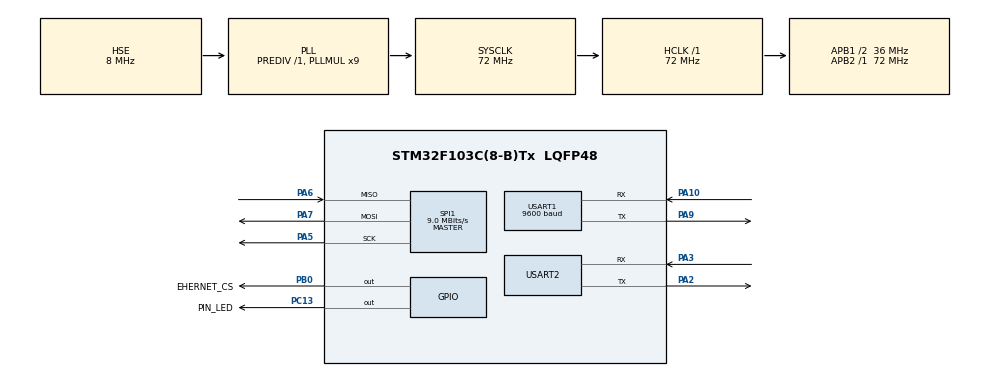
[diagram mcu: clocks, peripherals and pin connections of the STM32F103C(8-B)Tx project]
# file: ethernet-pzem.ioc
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Mcu.Family=STM32F1
Mcu.Name=STM32F103C(8-B)Tx
Mcu.Package=LQFP48
NVIC.PriorityGroup=NVIC_PRIORITYGROUP_4
NVIC.USART1_IRQn=true\:0\:0\:false\:false\:true\:true\:true
PA10.Mode=Asynchronous
PA10.Signal=USART1_RX
PA13.Mode=Serial_Wire
PA13.Signal=SYS_JTMS-SWDIO
PA14.Mode=Serial_Wire
PA14.Signal=SYS_JTCK-SWCLK
PA2.Mode=Asynchronous
PA2.Signal=USART2_TX
PA3.Mode=Asynchronous
PA3.Signal=USART2_RX
PA5.Mode=Full_Duplex_Master
PA5.Signal=SPI1_SCK
PA6.Mode=Full_Duplex_Master
PA6.Signal=SPI1_MISO
PA7.Mode=Full_Duplex_Master
PA7.Signal=SPI1_MOSI
PA9.Mode=Asynchronous
PA9.Signal=USART1_TX
PB0.GPIO_Label=EHERNET_CS
PB0.Signal=GPIO_Output
PC13-TAMPER-RTC.GPIO_Label=PIN_LED
PC13-TAMPER-RTC.Signal=GPIO_Output
PD0-OSC_IN.Mode=HSE-External-Oscillator
PD0-OSC_IN.Signal=RCC_OSC_IN
PD1-OSC_OUT.Mode=HSE-External-Oscillator
PD1-OSC_OUT.Signal=RCC_OSC_OUT
ProjectManager.HeapSize=0x200
ProjectManager.StackSize=0x400
ProjectManager.TargetToolchain=TrueSTUDIO
RCC.AHBFreq_Value=72000000
RCC.APB1CLKDivider=RCC_HCLK_DIV2
RCC.APB1Freq_Value=36000000
RCC.APB1TimFreq_Value=72000000
RCC.APB2Freq_Value=72000000
RCC.APB2TimFreq_Value=72000000
RCC.HCLKFreq_Value=72000000
RCC.PLLMUL=RCC_PLL_MUL9
RCC.PLLSourceVirtual=RCC_PLLSOURCE_HSE
RCC.SYSCLKFreq_VALUE=72000000
RCC.SYSCLKSource=RCC_SYSCLKSOURCE_PLLCLK
RCC.USBFreq_Value=72000000
SPI1.BaudRatePrescaler=SPI_BAUDRATEPRESCALER_8
SPI1.CalculateBaudRate=9.0 MBits/s
SPI1.Direction=SPI_DIRECTION_2LINES
SPI1.Mode=SPI_MODE_MASTER
SPI1.VirtualType=VM_MASTER
USART1.BaudRate=9600
USART1.VirtualMode=VM_ASYNC
USART2.VirtualMode=VM_ASYNC
board=custom

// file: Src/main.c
/* USER CODE BEGIN Header */
/**
  ******************************************************************************
  * @file           : main.c
  * @brief          : Main program body
  ******************************************************************************
  * @attention
  *
  * <h2><center>&copy; Copyright (c) 2020 STMicroelectronics.
  * All rights reserved.</center></h2>
  *
  * This software component is licensed by ST under BSD 3-Clause license,
  * the "License"; You may not use this file except in compliance with the
  * License. You may obtain a copy of the License at:
  *                        opensource.org/licenses/BSD-3-Clause
  *
  ******************************************************************************
  */
/* USER CODE END Header */

#include "main.h"

/* USER CODE BEGIN Includes */
#include <ctype.h>
#include <stdbool.h>

#include "socket.h"
#include "dhcp.h"
#include "wizchip_conf.h"
/* USER CODE END Includes */

/* USER CODE BEGIN PTD */
static const uint16_t crcTable[] = {
    0X0000, 0XC0C1, 0XC181, 0X0140, 0XC301, 0X03C0, 0X0280, 0XC241,
    0XC601, 0X06C0, 0X0780, 0XC741, 0X0500, 0XC5C1, 0XC481, 0X0440,
    0XCC01, 0X0CC0, 0X0D80, 0XCD41, 0X0F00, 0XCFC1, 0XCE81, 0X0E40,
    0X0A00, 0XCAC1, 0XCB81, 0X0B40, 0XC901, 0X09C0, 0X0880, 0XC841,
    0XD801, 0X18C0, 0X1980, 0XD941, 0X1B00, 0XDBC1, 0XDA81, 0X1A40,
    0X1E00, 0XDEC1, 0XDF81, 0X1F40, 0XDD01, 0X1DC0, 0X1C80, 0XDC41,
    0X1400, 0XD4C1, 0XD581, 0X1540, 0XD701, 0X17C0, 0X1680, 0XD641,
    0XD201, 0X12C0, 0X1380, 0XD341, 0X1100, 0XD1C1, 0XD081, 0X1040,
    0XF001, 0X30C0, 0X3180, 0XF141, 0X3300, 0XF3C1, 0XF281, 0X3240,
    0X3600, 0XF6C1, 0XF781, 0X3740, 0XF501, 0X35C0, 0X3480, 0XF441,
    0X3C00, 0XFCC1, 0XFD81, 0X3D40, 0XFF01, 0X3FC0, 0X3E80, 0XFE41,
    0XFA01, 0X3AC0, 0X3B80, 0XFB41, 0X3900, 0XF9C1, 0XF881, 0X3840,
    0X2800, 0XE8C1, 0XE981, 0X2940, 0XEB01, 0X2BC0, 0X2A80, 0XEA41,
    0XEE01, 0X2EC0, 0X2F80, 0XEF41, 0X2D00, 0XEDC1, 0XEC81, 0X2C40,
    0XE401, 0X24C0, 0X2580, 0XE541, 0X2700, 0XE7C1, 0XE681, 0X2640,
    0X2200, 0XE2C1, 0XE381, 0X2340, 0XE101, 0X21C0, 0X2080, 0XE041,
    0XA001, 0X60C0, 0X6180, 0XA141, 0X6300, 0XA3C1, 0XA281, 0X6240,
    0X6600, 0XA6C1, 0XA781, 0X6740, 0XA501, 0X65C0, 0X6480, 0XA441,
    0X6C00, 0XACC1, 0XAD81, 0X6D40, 0XAF01, 0X6FC0, 0X6E80, 0XAE41,
    0XAA01, 0X6AC0, 0X6B80, 0XAB41, 0X6900, 0XA9C1, 0XA881, 0X6840,
    0X7800, 0XB8C1, 0XB981, 0X7940, 0XBB01, 0X7BC0, 0X7A80, 0XBA41,
    0XBE01, 0X7EC0, 0X7F80, 0XBF41, 0X7D00, 0XBDC1, 0XBC81, 0X7C40,
    0XB401, 0X74C0, 0X7580, 0XB541, 0X7700, 0XB7C1, 0XB681, 0X7640,
    0X7200, 0XB2C1, 0XB381, 0X7340, 0XB101, 0X71C0, 0X7080, 0XB041,
    0X5000, 0X90C1, 0X9181, 0X5140, 0X9301, 0X53C0, 0X5280, 0X9241,
    0X9601, 0X56C0, 0X5780, 0X9741, 0X5500, 0X95C1, 0X9481, 0X5440,
    0X9C01, 0X5CC0, 0X5D80, 0X9D41, 0X5F00, 0X9FC1, 0X9E81, 0X5E40,
    0X5A00, 0X9AC1, 0X9B81, 0X5B40, 0X9901, 0X59C0, 0X5880, 0X9841,
    0X8801, 0X48C0, 0X4980, 0X8941, 0X4B00, 0X8BC1, 0X8A81, 0X4A40,
    0X4E00, 0X8EC1, 0X8F81, 0X4F40, 0X8D01, 0X4DC0, 0X4C80, 0X8C41,
    0X4400, 0X84C1, 0X8581, 0X4540, 0X8701, 0X47C0, 0X4680, 0X8641,
    0X8201, 0X42C0, 0X4380, 0X8341, 0X4100, 0X81C1, 0X8081, 0X4040
};
/* USER CODE END PTD */

/* USER CODE BEGIN PD */
#define REG_VOLTAGE     0x0000
#define REG_CURRENT_L   0x0001
#define REG_CURRENT_H   0X0002
#define REG_POWER_L     0x0003
#define REG_POWER_H     0x0004
#define REG_ENERGY_L    0x0005
#define REG_ENERGY_H    0x0006
#define REG_FREQUENCY   0x0007
#define REG_PF          0x0008
#define REG_ALARM       0x0009

#define CMD_RHR         0x03
#define CMD_RIR         0X04
#define CMD_WSR         0x06
#define CMD_CAL         0x41
#define CMD_REST        0x42

#define WREG_ALARM_THR   0x0001
#define WREG_ADDR        0x0002

#define UPDATE_TIME     200

#define RESPONSE_SIZE 32
#define READ_TIMEOUT 100

#define PZEM_BAUD_RATE 9600
uint8_t _addr = 0x42;

#define DATA_BUF_SIZE   500

#define DHCP_SOCKET     0
#define HTTP_SOCKET     2
uint8_t gDATABUF[DATA_BUF_SIZE];
uint8_t dhcp_buffer[1024];
uint8_t gateWay[4] = {192, 168, 1, 1};

#define json_answer	"HTTP/1.0 200 OK\r\n"\
		"Content-Type: application/json\r\n"\
		"Access-Control-Allow-Origin: *\r\n"\
		"\r\n"\
		"{\"voltage\": %.2f, \"current\": %.6f, \"power\": %.2f, \"energy\": %.2f, \"frequency\": %.2f, \"udid\":\"%s\"}"\

#define html_answer	"HTTP/1.0 200 OK\r\n"\
		"Content-Type: text/html\r\n"\
		"\r\n"\
		"voltage: %.2f <br> current: %.6f <br> power: %.2f <br>energy: %.2f<br> frequency: %.2f <br> udid: %s"\

uint8_t udids[27];
volatile uint32_t udid[3];

/* USER CODE END PD */

/* USER CODE BEGIN PM */
#define pgm_read_word(addr) (*(const unsigned short *)(addr))

/* USER CODE END PM */

SPI_HandleTypeDef hspi1;

UART_HandleTypeDef huart1;
UART_HandleTypeDef huart2;

/* USER CODE BEGIN PV */
struct {
       float voltage;
       float current;
       float power;
       float energy;
       float frequeny;
       float pf;
       uint16_t alarms;
   }  _currentValues; // Measured values

   uint64_t _lastRead;
/* USER CODE END PV */

void SystemClock_Config(void);
static void MX_GPIO_Init(void);
static void MX_SPI1_Init(void);
static void MX_USART1_UART_Init(void);
static void MX_USART2_UART_Init(void);

/* USER CODE BEGIN 0 */
uint16_t CRC16(const uint8_t *data, uint16_t len)
{
    uint8_t nTemp; // CRC table index
    uint16_t crc = 0xFFFF; // Default value

    while (len--)
    {
        nTemp = *data++ ^ crc;
        crc >>= 8;
        crc ^= (uint16_t)pgm_read_word(&crcTable[nTemp]);
    }
    return crc;
}

uint8_t setCRC(uint8_t *buf, uint16_t len){
    if(len <= 2) // Sanity check
        return 1;

    uint16_t crc = CRC16(buf, len - 2); // CRC of data

    // Write high and low byte to last two positions
    buf[len - 2] = crc & 0xFF; // Low byte first
    buf[len - 1] = (crc >> 8) & 0xFF; // High byte second
    return 0;
}

uint8_t sendCmd8(uint8_t cmd, uint16_t rAddr, uint16_t val){
    uint8_t sendBuffer[8]; // Send buffer

    sendBuffer[0] = 0xf8;                   // Set slave address
    sendBuffer[1] = cmd;                     // Set command

    sendBuffer[2] = (rAddr >> 8) & 0xFF;     // Set high byte of register address
    sendBuffer[3] = (rAddr) & 0xFF;          // Set low byte =//=

    sendBuffer[4] = (val >> 8) & 0xFF;       // Set high byte of register value
    sendBuffer[5] = (val) & 0xFF;            // Set low byte =//=

    setCRC(sendBuffer, 8);                   // Set CRC of frame
    HAL_UART_Transmit(&huart1, sendBuffer, sizeof(sendBuffer), HAL_MAX_DELAY);
    return 0;
}

uint8_t sendCmd4(uint8_t cmd){
    uint8_t sendBuffer[4]; // Send buffer
    sendBuffer[0] = 0xf8;                   // Set slave address
    sendBuffer[1] = cmd;                     // Set command
    setCRC(sendBuffer, 4);                   // Set CRC of frame
    HAL_UART_Transmit(&huart1, sendBuffer, sizeof(sendBuffer), HAL_MAX_DELAY);
    return 0;
}

void updateValues()
{
    sendCmd8(CMD_RIR, 0x00, 0x0A);
}

void resetEnergy()
{
	sendCmd4(CMD_REST);
}

uint8_t byte;
int rx_bytes = 0;
uint8_t response[26];
uint8_t response[26];

void HAL_UART_RxCpltCallback(UART_HandleTypeDef *huart){
	rx_bytes++;
    // Update the current values

		HAL_GPIO_TogglePin(PIN_LED_GPIO_Port, PIN_LED_Pin);
		_currentValues.voltage = ((uint32_t)response[3] << 8 | // Raw voltage in 0.1V
								  (uint32_t)response[4])/10.0;

		_currentValues.current = ((uint32_t)response[5] << 8 | // Raw current in 0.001A
								  (uint32_t)response[6] |
								  (uint32_t)response[7] << 24 |
								  (uint32_t)response[8] << 16) / 1000.0;

		_currentValues.power =   ((uint32_t)response[9] << 8 | // Raw power in 0.1W
								  (uint32_t)response[10] |
								  (uint32_t)response[11] << 24 |
								  (uint32_t)response[12] << 16) / 10.0;

		_currentValues.energy =  ((uint32_t)response[13] << 8 | // Raw Energy in 1Wh
								  (uint32_t)response[14] |
								  (uint32_t)response[15] << 24 |
								  (uint32_t)response[16] << 16) / 1000.0;

		_currentValues.frequeny =((uint32_t)response[17] << 8 | // Raw Frequency in 0.1Hz
								  (uint32_t)response[18]) / 10.0;

		_currentValues.pf =      ((uint32_t)response[19] << 8 | // Raw pf in 0.01
								  (uint32_t)response[20])/100.0;

		_currentValues.alarms =  ((uint32_t)response[21] << 8 | // Raw alarm value
								  (uint32_t)response[22]);

}

void W5500_Select(void) {
    HAL_GPIO_WritePin(EHERNET_CS_GPIO_Port, EHERNET_CS_Pin, GPIO_PIN_RESET);
}

void W5500_Unselect(void) {
    HAL_GPIO_WritePin(EHERNET_CS_GPIO_Port, EHERNET_CS_Pin, GPIO_PIN_SET);
}

void W5500_ReadBuff(uint8_t* buff, uint16_t len) {
    HAL_SPI_Receive(&hspi1, buff, len, HAL_MAX_DELAY);
}

void W5500_WriteBuff(uint8_t* buff, uint16_t len) {
    HAL_SPI_Transmit(&hspi1, buff, len, HAL_MAX_DELAY);
}

uint8_t W5500_ReadByte(void) {
    uint8_t byte;
    W5500_ReadBuff(&byte, sizeof(byte));
    return byte;
}

void W5500_WriteByte(uint8_t byte) {
    W5500_WriteBuff(&byte, sizeof(byte));
}

volatile bool ip_assigned = false;

void Callback_IPAssigned(void) {

	  HAL_GPIO_WritePin(PIN_LED_GPIO_Port, PIN_LED_Pin, GPIO_PIN_RESET);
	  HAL_Delay(100);
	  HAL_GPIO_WritePin(PIN_LED_GPIO_Port, PIN_LED_Pin, GPIO_PIN_SET);
	  HAL_Delay(200);
	  HAL_GPIO_WritePin(PIN_LED_GPIO_Port, PIN_LED_Pin, GPIO_PIN_RESET);
	  HAL_Delay(200);
	  HAL_GPIO_WritePin(PIN_LED_GPIO_Port, PIN_LED_Pin, GPIO_PIN_SET);
	  HAL_Delay(200);
	  HAL_GPIO_WritePin(PIN_LED_GPIO_Port, PIN_LED_Pin, GPIO_PIN_RESET);
	  HAL_Delay(200);
    ip_assigned = true;
}

void Callback_IPConflict(void) {
	  HAL_GPIO_WritePin(PIN_LED_GPIO_Port, PIN_LED_Pin, GPIO_PIN_RESET);
	  HAL_Delay(100);
	  HAL_GPIO_WritePin(PIN_LED_GPIO_Port, PIN_LED_Pin, GPIO_PIN_SET);
	  HAL_Delay(100);
	  HAL_GPIO_WritePin(PIN_LED_GPIO_Port, PIN_LED_Pin, GPIO_PIN_RESET);
	  HAL_Delay(100);
	  HAL_GPIO_WritePin(PIN_LED_GPIO_Port, PIN_LED_Pin, GPIO_PIN_SET);
while(1){}

}

// 1K should be enough, see https://forum.wiznet.io/t/topic/1612/2
uint8_t dhcp_buffer[1024];
uint32_t dhcp_ctr = 10000;

void w55500init() {
//    UART_Printf("\r\ninit() called!\r\n");
//    UART_Printf("Registering W5500 callbacks...\r\n");

	uint8_t tmp;
    reg_wizchip_cs_cbfunc(W5500_Select, W5500_Unselect);
    reg_wizchip_spi_cbfunc(W5500_ReadByte, W5500_WriteByte);
    reg_wizchip_spiburst_cbfunc(W5500_ReadBuff, W5500_WriteBuff);

//    UART_Printf("Calling wizchip_init()...\r\n");
    uint8_t memsize[2][8] = {{2,2,2,2,2,2,2,2},{2,2,2,2,2,2,2,2}};

	/* WIZCHIP SOCKET Buffer initialize */
	if(ctlwizchip(CW_INIT_WIZCHIP,(void*)memsize) == -1){
		//init fail
		//printf("WIZCHIP Initialized fail.\r\n");
		while(1);
	}
	do{
		if(ctlwizchip(CW_GET_PHYLINK, (void*)&tmp) == -1){};
			//printf("Unknown PHY Link stauts.\r\n");
	}while(tmp == PHY_LINK_OFF);

	wiz_NetInfo net_info = {    .mac = {0x00, 0x08, 0xdc, 0xab, 0xcd, 0xef},
	                            .ip = {172, 168, 1, 154},
	                            .sn = {255, 255, 254, 0},
	                            .gw = {172, 168, 1, 1},
	                            .dns = {0, 0, 0, 0},
	                            .dhcp = NETINFO_DHCP };

	setSHAR(net_info.mac);			//set MAC addr
	setSIPR(net_info.ip);			//set IP addr
	setGAR(net_info.gw);			//set gate way
	setSUBR(net_info.sn);			//set subnet

///////////////////////////////////////////

    DHCP_init(DHCP_SOCKET, dhcp_buffer);
    reg_dhcp_cbfunc(
           Callback_IPAssigned,
           Callback_IPAssigned,
           Callback_IPConflict
       );

	while((!ip_assigned) && (dhcp_ctr > 0)) {
		DHCP_run();
		dhcp_ctr--;
	}
	if(!ip_assigned) {
//		UART_Printf("\r\nIP was not assigned :(\r\n");
		return;
	}

	getIPfromDHCP(net_info.ip);
	getGWfromDHCP(net_info.gw);
	getSNfromDHCP(net_info.sn);

	wizchip_setnetinfo(&net_info);

}

int32_t loopback_tcps(uint8_t sn, uint8_t* buf, uint16_t port){
	int32_t ret;
	uint16_t size = 0, sentsize=0;
	uint8_t *url;

	switch(getSn_SR(sn)){
		case SOCK_ESTABLISHED :
			if(getSn_IR(sn) & Sn_IR_CON){
//				printf("%d:Connected\r\n",sn);
				setSn_IR(sn,Sn_IR_CON);
			}
			if((size = getSn_RX_RSR(sn)) > 0){
				if(size > DATA_BUF_SIZE) size = DATA_BUF_SIZE;
				ret = recv(sn,buf,size);
				if(ret <= 0) return ret;
				sentsize = 0;
				if(memcmp(buf, "GET ", 4)==0){
					// extract URL from request header
					url = buf + 4;
					//http data fill
					if(memcmp(url, "/info", 5)==0){
						sprintf(buf, json_answer,
								 _currentValues.voltage,
							     _currentValues.current,
								 _currentValues.power,
								 _currentValues.energy,
								_currentValues.frequeny,
								udids
								);
					}else if(memcmp(url, "/reset", 6)==0){
					    HAL_Delay(100);
						HAL_UART_Receive_IT(&huart1, response, 4);
						resetEnergy();
					    HAL_Delay(100);
						sprintf(buf, html_answer,
								 _currentValues.voltage,
							     _currentValues.current,
								 _currentValues.power,
								 _currentValues.energy,
								_currentValues.frequeny,
								udids
								);
					}else if(memcmp(url, "/pause", 6)==0){
					    HAL_Delay(1000);
						sprintf(buf, html_answer,
								 _currentValues.voltage,
							     _currentValues.current,
								 _currentValues.power,
								 _currentValues.energy,
								_currentValues.frequeny,
								udids
								);
					}else{
						sprintf(buf, html_answer,
								 _currentValues.voltage,
							     _currentValues.current,
								 _currentValues.power,
								 _currentValues.energy,
								_currentValues.frequeny,
								udids
								);
					}

					size=strlen((const char*)buf);

					//sending answer
					while(size != sentsize){
						ret = send(sn,buf+sentsize,size-sentsize);
						if(ret < 0){
							close(sn);
							return ret;
						}
						sentsize += ret; // Don't care SOCKERR_BUSY, because it is zero.
					}
				}
				//ending
				disconnect(sn);

			}
			break;
		case SOCK_CLOSE_WAIT :
//			printf("%d:CloseWait\r\n",sn);
			if((ret=disconnect(sn)) != SOCK_OK) return ret;
//			printf("%d:Closed\r\n",sn);
			break;
		case SOCK_INIT :
//			printf("%d:Listen, port [%d]\r\n",sn, port);
			if( (ret = listen(sn)) != SOCK_OK) return ret;
			break;
		case SOCK_CLOSED:
//			printf("%d:LBTStart\r\n",sn);
			if((ret=socket(sn,Sn_MR_TCP,port,0x00)) != sn)
			return ret;
	//		printf("%d:Opened\r\n",sn);
			break;
		default:
			break;
	}
	return 1;
}

/* USER CODE END 0 */

int main(void)
{
  /* USER CODE BEGIN 1 */
	udid[0] =  *((unsigned long *)0x1FFFF7F0);
	udid[1] =  *((unsigned long *)0x1FFFF7EC);
	udid[2] =  *((unsigned long *)0x1FFFF7E8);
	sprintf(udids, "%08X-%08X-%08X",udid[0], udid[1],udid[2]);
	uint8_t tmp;

  /* USER CODE END 1 */

  /* MCU Configuration--------------------------------------------------------*/

  /* Reset of all peripherals, Initializes the Flash interface and the Systick. */
  HAL_Init();

  /* Configure the system clock */
  SystemClock_Config();

  /* Initialize all configured peripherals */
  MX_GPIO_Init();
  MX_SPI1_Init();
  MX_USART1_UART_Init();
  MX_USART2_UART_Init();
  /* USER CODE BEGIN 2 */
  w55500init();
  /* USER CODE END 2 */

  /* Infinite loop */
  /* USER CODE BEGIN WHILE */
  uint8_t link = 1;
  uint8_t prev_link = 0;
  while (1)
  {
    /* USER CODE END WHILE */

    /* USER CODE BEGIN 3 */
//	  HAL_Delay(100);
	  if(link == 1){
		  HAL_UART_Receive_IT(&huart1, response, 25);
		  updateValues();
	  }
//	  HAL_GPIO_TogglePin(PIN_LED_GPIO_Port, PIN_LED_Pin);
	  loopback_tcps(HTTP_SOCKET,gDATABUF, 80);
	  HAL_Delay(100);
	  if(ctlwizchip(CW_GET_PHYLINK, (void*)&tmp) == 0){
		  if(tmp == PHY_LINK_OFF){
			  link = 0;
		  }else{
			  link = 1;
		  }
	  }
	  if(prev_link!=link){
		  dhcp_ctr = 10000;
		  ip_assigned = false;
		  while((!ip_assigned) && (dhcp_ctr > 0)) {
		  		DHCP_run();
		  		dhcp_ctr--;
		  	}
	  }
	  prev_link = link;
  }
  /* USER CODE END 3 */
}

void SystemClock_Config(void)
{
  RCC_OscInitTypeDef RCC_OscInitStruct = {0};
  RCC_ClkInitTypeDef RCC_ClkInitStruct = {0};

  /** Initializes the CPU, AHB and APB busses clocks
  */
  RCC_OscInitStruct.OscillatorType = RCC_OSCILLATORTYPE_HSE;
  RCC_OscInitStruct.HSEState = RCC_HSE_ON;
  RCC_OscInitStruct.HSEPredivValue = RCC_HSE_PREDIV_DIV1;
  RCC_OscInitStruct.HSIState = RCC_HSI_ON;
  RCC_OscInitStruct.PLL.PLLState = RCC_PLL_ON;
  RCC_OscInitStruct.PLL.PLLSource = RCC_PLLSOURCE_HSE;
  RCC_OscInitStruct.PLL.PLLMUL = RCC_PLL_MUL9;
  if (HAL_RCC_OscConfig(&RCC_OscInitStruct) != HAL_OK)
  {
    Error_Handler();
  }
  /** Initializes the CPU, AHB and APB busses clocks
  */
  RCC_ClkInitStruct.ClockType = RCC_CLOCKTYPE_HCLK|RCC_CLOCKTYPE_SYSCLK
                              |RCC_CLOCKTYPE_PCLK1|RCC_CLOCKTYPE_PCLK2;
  RCC_ClkInitStruct.SYSCLKSource = RCC_SYSCLKSOURCE_PLLCLK;
  RCC_ClkInitStruct.AHBCLKDivider = RCC_SYSCLK_DIV1;
  RCC_ClkInitStruct.APB1CLKDivider = RCC_HCLK_DIV2;
  RCC_ClkInitStruct.APB2CLKDivider = RCC_HCLK_DIV1;

  if (HAL_RCC_ClockConfig(&RCC_ClkInitStruct, FLASH_LATENCY_2) != HAL_OK)
  {
    Error_Handler();
  }
}

static void MX_SPI1_Init(void)
{

  /* SPI1 parameter configuration*/
  hspi1.Instance = SPI1;
  hspi1.Init.Mode = SPI_MODE_MASTER;
  hspi1.Init.Direction = SPI_DIRECTION_2LINES;
  hspi1.Init.DataSize = SPI_DATASIZE_8BIT;
  hspi1.Init.CLKPolarity = SPI_POLARITY_LOW;
  hspi1.Init.CLKPhase = SPI_PHASE_1EDGE;
  hspi1.Init.NSS = SPI_NSS_SOFT;
  hspi1.Init.BaudRatePrescaler = SPI_BAUDRATEPRESCALER_8;
  hspi1.Init.FirstBit = SPI_FIRSTBIT_MSB;
  hspi1.Init.TIMode = SPI_TIMODE_DISABLE;
  hspi1.Init.CRCCalculation = SPI_CRCCALCULATION_DISABLE;
  hspi1.Init.CRCPolynomial = 10;
  if (HAL_SPI_Init(&hspi1) != HAL_OK)
  {
    Error_Handler();
  }

}

static void MX_USART1_UART_Init(void)
{

  huart1.Instance = USART1;
  huart1.Init.BaudRate = 9600;
  huart1.Init.WordLength = UART_WORDLENGTH_8B;
  huart1.Init.StopBits = UART_STOPBITS_1;
  huart1.Init.Parity = UART_PARITY_NONE;
  huart1.Init.Mode = UART_MODE_TX_RX;
  huart1.Init.HwFlowCtl = UART_HWCONTROL_NONE;
  huart1.Init.OverSampling = UART_OVERSAMPLING_16;
  if (HAL_UART_Init(&huart1) != HAL_OK)
  {
    Error_Handler();
  }
  /* USER CODE BEGIN USART1_Init 2 */
  HAL_NVIC_SetPriority(USART1_IRQn, 0, 0);

  /* USER CODE END USART1_Init 2 */

}

static void MX_USART2_UART_Init(void)
{

  huart2.Instance = USART2;
  huart2.Init.BaudRate = 115200;
  huart2.Init.WordLength = UART_WORDLENGTH_8B;
  huart2.Init.StopBits = UART_STOPBITS_1;
  huart2.Init.Parity = UART_PARITY_NONE;
  huart2.Init.Mode = UART_MODE_TX_RX;
  huart2.Init.HwFlowCtl = UART_HWCONTROL_NONE;
  huart2.Init.OverSampling = UART_OVERSAMPLING_16;
  if (HAL_UART_Init(&huart2) != HAL_OK)
  {
    Error_Handler();
  }

}

static void MX_GPIO_Init(void)
{
  GPIO_InitTypeDef GPIO_InitStruct = {0};

  /* GPIO Ports Clock Enable */
  __HAL_RCC_GPIOC_CLK_ENABLE();
  __HAL_RCC_GPIOD_CLK_ENABLE();
  __HAL_RCC_GPIOA_CLK_ENABLE();
  __HAL_RCC_GPIOB_CLK_ENABLE();

  /*Configure GPIO pin Output Level */
  HAL_GPIO_WritePin(PIN_LED_GPIO_Port, PIN_LED_Pin, GPIO_PIN_RESET);

  /*Configure GPIO pin Output Level */
  HAL_GPIO_WritePin(EHERNET_CS_GPIO_Port, EHERNET_CS_Pin, GPIO_PIN_RESET);

  /*Configure GPIO pin : PIN_LED_Pin */
  GPIO_InitStruct.Pin = PIN_LED_Pin;
  GPIO_InitStruct.Mode = GPIO_MODE_OUTPUT_PP;
  GPIO_InitStruct.Pull = GPIO_NOPULL;
  GPIO_InitStruct.Speed = GPIO_SPEED_FREQ_LOW;
  HAL_GPIO_Init(PIN_LED_GPIO_Port, &GPIO_InitStruct);

  /*Configure GPIO pin : EHERNET_CS_Pin */
  GPIO_InitStruct.Pin = EHERNET_CS_Pin;
  GPIO_InitStruct.Mode = GPIO_MODE_OUTPUT_PP;
  GPIO_InitStruct.Pull = GPIO_NOPULL;
  GPIO_InitStruct.Speed = GPIO_SPEED_FREQ_LOW;
  HAL_GPIO_Init(EHERNET_CS_GPIO_Port, &GPIO_InitStruct);

}

void Error_Handler(void)
{
}

/************************ (C) COPYRIGHT STMicroelectronics *****END OF FILE****/
